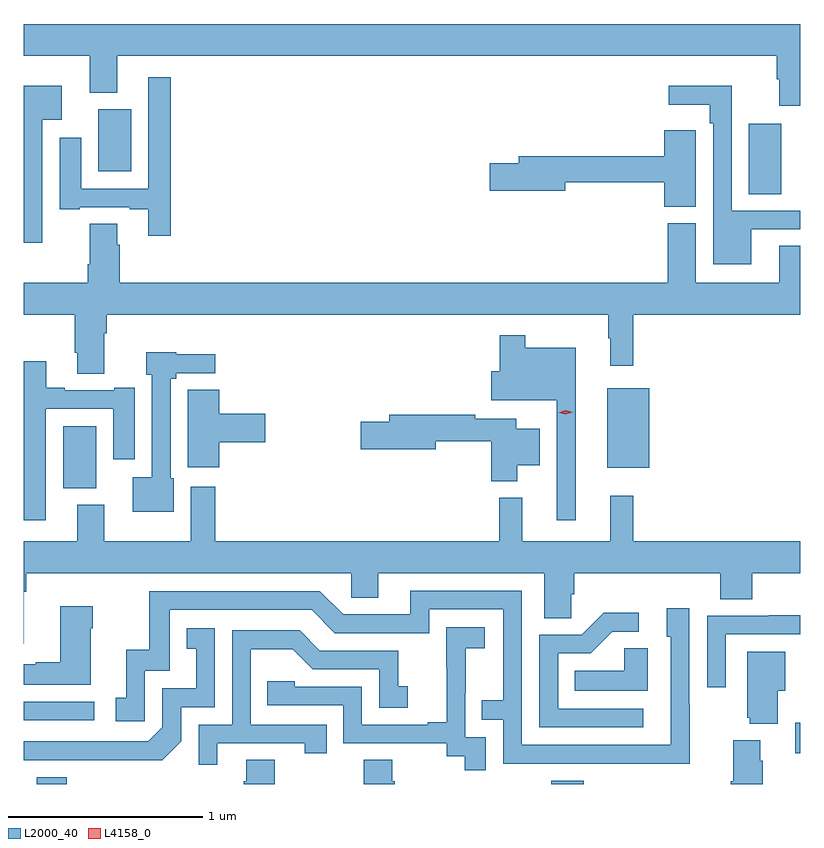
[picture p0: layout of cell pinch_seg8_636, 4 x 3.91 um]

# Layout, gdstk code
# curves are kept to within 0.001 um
import gdstk
lib = gdstk.Library(unit=1e-6, precision=1e-09)
def R(c, l, rs):  # rectangles x0, y0, x1, y1
    for r in rs: c.add(gdstk.rectangle(r[:2], r[2:], *l))
def P(c, l, *ps):  # polygons
    for p in ps: c.add(gdstk.Polygon(p, *l))
L2000_40 = (2000, 40)
L4158_0 = (4158, 0)

pinch_seg8_636 = lib.new_cell('pinch_seg8_636')
R(pinch_seg8_636, L2000_40, [(361.916,1090.107,362.069,1090.141), (364.565,1090.107,364.73,1090.123), (365.819,1090.266,365.847,1090.422), (361.847,1090.434,362.212,1090.53), (362.051,1091.63,362.221,1091.95), (364.853,1091.735,365.068,1092.145), (365.582,1093.144,365.749,1093.507), (362.231,1093.262,362.401,1093.582)])
P(pinch_seg8_636, L2000_40, [(365.847,1094.02),(361.847,1094.02),(361.847,1093.856),(362.189,1093.856),(362.189,1093.667),(362.329,1093.667),(362.329,1093.856),(365.726,1093.856),(365.726,1093.736),(365.738,1093.736),(365.738,1093.599),(365.847,1093.599)],
  [(362.606,1093.747),(362.49,1093.747),(362.49,1093.173),(362.143,1093.173),(362.143,1093.435),(362.033,1093.435),(362.033,1093.065),(362.137,1093.065),(362.137,1093.077),(362.393,1093.077),(362.393,1093.065),(362.489,1093.065),(362.489,1092.93),(362.606,1092.93)],
  [(365.593,1092.963),(365.847,1092.963),(365.847,1093.059),(365.493,1093.059),(365.493,1093.702),(365.169,1093.702),(365.169,1093.604),(365.381,1093.604),(365.381,1093.508),(365.397,1093.508),(365.397,1092.782),(365.593,1092.782)],
  [(361.944,1093.526),(362.044,1093.526),(362.044,1093.702),(361.847,1093.702),(361.847,1093.53),(361.848,1093.53),(361.848,1092.99),(361.847,1092.99),(361.847,1092.893),(361.944,1092.893)],
  [(365.308,1093.361),(365.307,1093.361),(365.307,1093.474),(365.147,1093.474),(365.147,1093.34),(364.397,1093.34),(364.397,1093.304),(364.248,1093.304),(364.248,1093.162),(364.636,1093.162),(364.636,1093.204),(365.147,1093.204),(365.147,1093.078),(365.308,1093.078)],
  [(362.263,1092.428),(362.276,1092.428),(362.276,1092.524),(364.857,1092.524),(364.857,1092.401),(364.868,1092.401),(364.868,1092.261),(364.985,1092.261),(364.985,1092.524),(365.847,1092.524),(365.847,1092.878),(365.738,1092.878),(365.738,1092.688),(365.308,1092.688),(365.308,1092.993),(365.165,1092.993),(365.165,1092.688),(362.342,1092.688),(362.342,1092.884),(362.329,1092.884),(362.329,1092.992),(362.189,1092.992),(362.189,1092.784),(362.177,1092.784),(362.177,1092.688),(361.847,1092.688),(361.847,1092.524),(362.111,1092.524),(362.111,1092.328),(362.123,1092.328),(362.123,1092.22),(362.263,1092.22)],
  [(364.69,1092.352),(364.429,1092.352),(364.429,1092.418),(364.3,1092.418),(364.3,1092.231),(364.256,1092.231),(364.256,1092.083),(364.593,1092.083),(364.593,1091.466),(364.69,1091.466)],
  [(362.62,1091.682),(362.604,1091.682),(362.604,1092.194),(362.634,1092.194),(362.634,1092.222),(362.833,1092.222),(362.833,1092.32),(362.634,1092.32),(362.634,1092.331),(362.48,1092.331),(362.48,1092.213),(362.508,1092.213),(362.508,1091.686),(362.408,1091.686),(362.408,1091.51),(362.62,1091.51)],
  [(361.962,1092.039),(362.309,1092.039),(362.309,1091.778),(362.419,1091.778),(362.419,1092.148),(362.315,1092.148),(362.315,1092.135),(362.059,1092.135),(362.059,1092.148),(361.963,1092.148),(361.963,1092.283),(361.847,1092.283),(361.847,1091.466),(361.962,1091.466)],
  [(362.855,1091.867),(363.091,1091.867),(363.091,1092.014),(362.855,1092.014),(362.855,1092.137),(362.693,1092.137),(362.693,1091.739),(362.855,1091.739)],
  [(364.39,1091.747),(364.504,1091.747),(364.504,1091.935),(364.384,1091.935),(364.384,1091.988),(364.172,1091.988),(364.172,1092.008),(363.731,1092.008),(363.731,1091.972),(363.582,1091.972),(363.582,1091.83),(363.97,1091.83),(363.97,1091.872),(364.256,1091.872),(364.256,1091.666),(364.39,1091.666)],
  [(363.534,1091.065),(363.673,1091.065),(363.673,1091.192),(364.529,1091.192),(364.529,1090.96),(364.668,1090.96),(364.668,1091.083),(364.682,1091.083),(364.682,1091.192),(365.435,1091.192),(365.435,1091.059),(365.6,1091.059),(365.6,1091.192),(365.847,1091.192),(365.847,1091.356),(364.985,1091.356),(364.985,1091.59),(364.868,1091.59),(364.868,1091.356),(364.415,1091.356),(364.415,1091.581),(364.297,1091.581),(364.297,1091.356),(362.834,1091.356),(362.834,1091.638),(362.708,1091.638),(362.708,1091.356),(362.263,1091.356),(362.263,1091.545),(362.123,1091.545),(362.123,1091.356),(361.847,1091.356),(361.847,1090.83),(361.849,1090.83),(361.849,1091.096),(361.862,1091.096),(361.862,1091.192),(363.534,1091.192)],
  [(365.277,1090.517),(365.274,1090.517),(365.274,1091.011),(365.159,1091.011),(365.159,1090.866),(365.178,1090.866),(365.178,1090.308),(364.413,1090.308),(364.413,1091.103),(363.839,1091.103),(363.839,1090.98),(363.492,1090.98),(363.372,1091.1),(362.493,1091.1),(362.493,1090.798),(362.375,1090.798),(362.375,1090.551),(362.322,1090.551),(362.322,1090.431),(362.472,1090.431),(362.472,1090.689),(362.601,1090.689),(362.601,1091.004),(363.33,1091.004),(363.45,1090.884),(363.936,1090.884),(363.936,1091.007),(364.317,1091.007),(364.317,1090.538),(364.207,1090.538),(364.207,1090.437),(364.317,1090.437),(364.317,1090.212),(365.277,1090.211)],
  [(362.194,1090.91),(362.202,1090.91),(362.202,1091.023),(362.036,1091.023),(362.036,1090.733),(361.91,1090.733),(361.91,1090.723),(361.847,1090.723),(361.847,1090.619),(362.194,1090.619)],
  [(365.038,1090.494),(364.599,1090.494),(364.599,1090.779),(364.768,1090.779),(364.879,1090.89),(365.014,1090.89),(365.014,1090.988),(364.835,1090.988),(364.722,1090.875),(364.503,1090.875),(364.503,1090.398),(365.038,1090.398)],
  [(365.463,1090.878),(365.847,1090.878),(365.847,1090.976),(365.683,1090.976),(365.683,1090.974),(365.367,1090.974),(365.367,1090.605),(365.463,1090.605)],
  [(364.227,1090.347),(364.122,1090.347),(364.122,1090.577),(364.124,1090.577),(364.124,1090.805),(364.222,1090.805),(364.222,1090.915),(364.024,1090.915),(364.024,1090.709),(364.025,1090.709),(364.025,1090.426),(363.929,1090.426),(363.929,1090.413),(363.588,1090.413),(363.588,1090.608),(363.243,1090.608),(363.243,1090.635),(363.103,1090.635),(363.103,1090.512),(363.492,1090.512),(363.492,1090.317),(364.026,1090.317),(364.026,1090.249),(364.119,1090.249),(364.119,1090.179),(364.227,1090.179)],
  [(362.658,1090.326),(362.658,1090.503),(362.832,1090.503),(362.832,1090.909),(362.686,1090.909),(362.686,1090.803),(362.735,1090.803),(362.735,1090.599),(362.562,1090.599),(362.562,1090.398),(362.49,1090.326),(361.847,1090.326),(361.847,1090.23),(362.56,1090.229)],
  [(362.845,1090.317),(363.296,1090.317),(363.296,1090.266),(363.407,1090.266),(363.407,1090.413),(363.018,1090.413),(363.018,1090.802),(363.232,1090.802),(363.336,1090.698),(363.678,1090.698),(363.678,1090.5),(363.826,1090.5),(363.826,1090.609),(363.777,1090.609),(363.777,1090.794),(363.373,1090.794),(363.268,1090.899),(362.922,1090.899),(362.922,1090.413),(362.748,1090.413),(362.748,1090.206),(362.845,1090.206)],
  [(365.062,1090.805),(364.941,1090.805),(364.941,1090.69),(364.684,1090.69),(364.684,1090.586),(365.062,1090.586)],
  [(365.731,1090.586),(365.77,1090.586),(365.77,1090.789),(365.573,1090.789),(365.573,1090.449),(365.585,1090.449),(365.585,1090.418),(365.731,1090.418)],
  [(365.654,1090.226),(365.641,1090.226),(365.641,1090.333),(365.501,1090.333),(365.501,1090.12),(365.489,1090.12),(365.489,1090.107),(365.654,1090.107)],
  [(363.141,1090.232),(362.993,1090.232),(362.993,1090.122),(362.981,1090.122),(362.981,1090.107),(363.141,1090.107)],
  [(363.758,1090.122),(363.745,1090.122),(363.745,1090.232),(363.598,1090.232),(363.598,1090.107),(363.758,1090.107)])
P(pinch_seg8_636, L4158_0, [(364.639,1092.011),(364.603,1092.019),(364.603,1092.019),(364.603,1092.019),(364.638,1092.031),(364.674,1092.022),(364.674,1092.022),(364.674,1092.022)])

lib.write_gds('pinch_seg8_636.gds')
